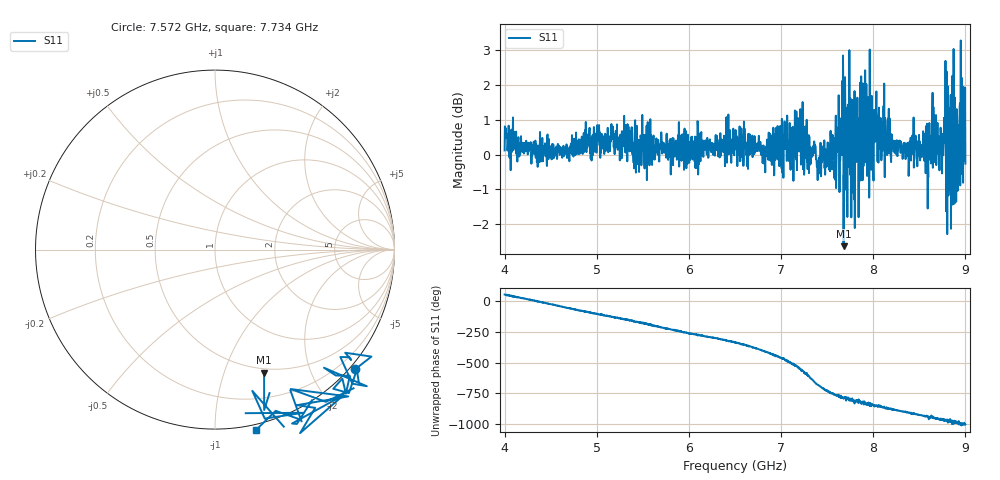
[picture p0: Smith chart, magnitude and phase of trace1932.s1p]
! Created with skrf 1.8.0 (http://scikit-rf.org).
# Hz S RI R 50.0
!freq ReS11 ImS11
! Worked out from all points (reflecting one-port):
!   1601 points, 4 GHz to 9 GHz, reference 50 ohm
!   lowest |S11| = -2.6 dB at 7.678 GHz (marker M1), VSWR 6.66, Z = 22.7 - j68.7 ohm
!   phase of S11 starts at 50 deg and turns -1050 deg over the sweep
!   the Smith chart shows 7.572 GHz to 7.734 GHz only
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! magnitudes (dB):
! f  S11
! 4 GHz  0.1
! 4.625 GHz  -0.1
! 5.25 GHz  -0.2
! 5.875 GHz  0.1
! 6.5 GHz  0.5
! 6.806 GHz  0.0
! 7.125 GHz  -0.1
! 7.209 GHz  1.3
! 7.409 GHz  -0.5
! 7.588 GHz  -0.7
! 7.65 GHz  0.7
! 7.659 GHz  0.0
! 7.678 GHz  -2.6
! 7.703 GHz  0.6
! 7.716 GHz  -0.2
! 7.75 GHz  -0.6
! 7.775 GHz  1.2
! 7.891 GHz  0.6
! 7.981 GHz  -0.4
! 8.038 GHz  0.4
! 8.375 GHz  0.0
! 8.578 GHz  0.2
! 8.656 GHz  0.6
! 8.741 GHz  0.0
! 8.788 GHz  0.3
! 8.841 GHz  1.7
! 8.972 GHz  0.6
! 9 GHz  -0.3
